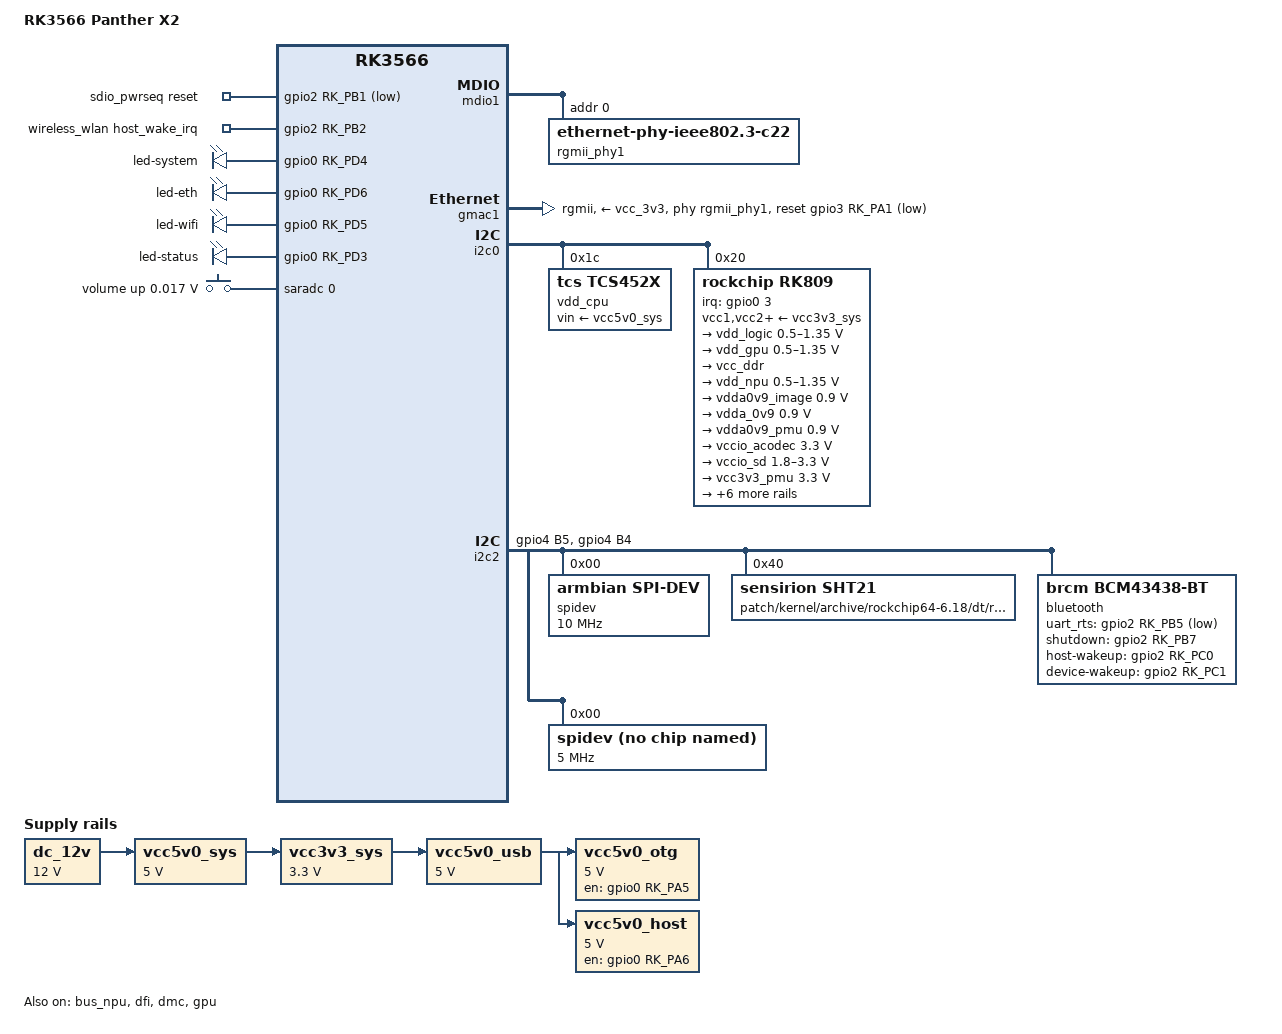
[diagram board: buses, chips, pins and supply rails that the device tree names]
<<<<<<<< HEAD:patch/kernel/rk35xx-vendor-6.1/dt/rk3566-panther-x2.dts
========
// SPDX-License-Identifier: (GPL-2.0+ OR MIT)
/*
 * Copyright (c) 2023 tdleiyao <tdleiyao@gmail.com>
 * WiFi, I2C, and SPI additions
 */
 
>>>>>>>> upstream/main:patch/kernel/archive/rockchip64-6.18/dt/rk3566-panther-x2.dts
/dts-v1/;
#include <dt-bindings/gpio/gpio.h>
#include <dt-bindings/leds/common.h>
#include <dt-bindings/input/rk-input.h>
#include "rk3566.dtsi"
#include <dt-bindings/phy/phy.h>

/ {
	model = "RK3566 Panther X2";
	compatible = "rockchip,panther-x2", "rockchip,rk3566";

	chosen: chosen {
		stdout-path = &uart2;
		u-boot,spl-boot-order = &sdmmc0, &sdhci;
	};

	aliases: aliases {
		ethernet0 = &gmac1;
		mmc0 = &sdhci;
		mmc1 = &sdmmc0;
	};

	fiq_debugger: fiq-debugger {
		compatible = "rockchip,fiq-debugger";
		rockchip,serial-id = <2>;
		rockchip,wake-irq = <0>;
		rockchip,irq-mode-enable = <1>;
		rockchip,baudrate = <1500000>;
		interrupts = <GIC_SPI 252 IRQ_TYPE_LEVEL_LOW>;
		pinctrl-names = "default";
		pinctrl-0 = <&uart2m0_xfer>;
		status = "okay";
	};

	dc_12v: dc-12v {
		compatible = "regulator-fixed";
		regulator-name = "dc_12v";
		regulator-min-microvolt = <12000000>;
		regulator-max-microvolt = <12000000>;
		regulator-always-on;
		regulator-boot-on;
	};

	vcc5v0_sys: vcc5v0-sys {
		compatible = "regulator-fixed";
		regulator-name = "vcc5v0_sys";
		regulator-min-microvolt = <5000000>;
		regulator-max-microvolt = <5000000>;
		regulator-always-on;
		regulator-boot-on;
		vin-supply = <&dc_12v>;
	};

	vcc3v3_sys: vcc3v3-sys {
		compatible = "regulator-fixed";
		regulator-name = "vcc3v3_sys";
		regulator-min-microvolt = <3300000>;
		regulator-max-microvolt = <3300000>;
		regulator-always-on;
		regulator-boot-on;
		vin-supply = <&vcc5v0_sys>;
	};

	vcc5v0_usb: vcc5v0-usb {
		compatible = "regulator-fixed";
		regulator-name = "vcc5v0_usb";
		regulator-min-microvolt = <5000000>;
		regulator-max-microvolt = <5000000>;
		regulator-always-on;
		regulator-boot-on;
		vin-supply = <&vcc3v3_sys>;
	};

	vcc5v0_otg: vcc5v0-otg {
		compatible = "regulator-fixed";
		regulator-name = "vcc5v0_otg";
		regulator-min-microvolt = <5000000>;
		regulator-max-microvolt = <5000000>;
		gpio = <&gpio0 RK_PA5 GPIO_ACTIVE_HIGH>;
		enable-active-high;
		vin-supply = <&vcc5v0_usb>;
	};

	vcc5v0_host: vcc5v0-host {
		compatible = "regulator-fixed";
		regulator-name = "vcc5v0_host";
		regulator-min-microvolt = <5000000>;
		regulator-max-microvolt = <5000000>;
		gpio = <&gpio0 RK_PA6 GPIO_ACTIVE_HIGH>;
		regulator-always-on;
		regulator-boot-on;
		enable-active-high;
		vin-supply = <&vcc5v0_usb>;
	};

	sdio_pwrseq: sdio-pwrseq {
		compatible = "mmc-pwrseq-simple";
		clocks = <&rk809 1>;
		clock-names = "ext_clock";
		post-power-on-delay-ms = <100>;
		reset-gpios = <&gpio2 RK_PB1 GPIO_ACTIVE_LOW>;
	};

	wireless_wlan: wireless-wlan {
		compatible = "wlan-platdata";
		rockchip,grf = <&grf>;
		clocks = <&rk809 1>;
		clock-names = "ext_clock";
		wifi_chip_type = "ap6236";
		WIFI,host_wake_irq = <&gpio2 RK_PB2 GPIO_ACTIVE_HIGH>;
		status = "okay";
	};

	leds: leds {
		compatible = "gpio-leds";

		led-system {
			gpios = <&gpio0 RK_PD4 GPIO_ACTIVE_HIGH>;
			linux,default-trigger = "default-on";
			function = LED_FUNCTION_POWER;
			default-state = "on";
		};

		led-eth {
			gpios = <&gpio0 RK_PD6 GPIO_ACTIVE_HIGH>;
			linux,default-trigger = "activity";
			function = LED_FUNCTION_ACTIVITY;
			default-state = "on";
		};

		led-wifi {
			gpios = <&gpio0 RK_PD5 GPIO_ACTIVE_HIGH>;
			linux,default-trigger = "activity";
			function = LED_FUNCTION_ACTIVITY;
			default-state = "on";
		};

		led-status {
			gpios = <&gpio0 RK_PD3 GPIO_ACTIVE_HIGH>;
			linux,default-trigger = "heartbeat";
			function = LED_FUNCTION_HEARTBEAT;
			default-state = "on";
		};
	};

	adc_keys: adc-keys {
		compatible = "adc-keys";
		io-channels = <&saradc 0>;
		io-channel-names = "buttons";
		keyup-threshold-microvolt = <1800000>;
		poll-interval = <100>;

		/* ADC ch0 ~0V = volume-up / recovery (U-Boot dnl -> BootROM maskrom) */
		volumeup-key {
			label = "volume up";
			linux,code = <KEY_VOLUMEUP>;
			press-threshold-microvolt = <17000>;
		};
	};
};

&mdio1 {
	rgmii_phy1: ethernet-phy@0 {
		compatible = "ethernet-phy-ieee802.3-c22";
		reg = <0x0>;
	};
};

&gmac1 {
	assigned-clocks = <&cru SCLK_GMAC1_RX_TX>, <&cru SCLK_GMAC1>;
	assigned-clock-parents = <&cru SCLK_GMAC1_RGMII_SPEED>, <&cru CLK_MAC1_2TOP>;
	assigned-clock-rates = <0>, <125000000>;
	clock_in_out = "output";
	phy-supply = <&vcc_3v3>;

	snps,reset-gpio = <&gpio3 RK_PA1 GPIO_ACTIVE_LOW>;
	snps,reset-active-low;
	snps,reset-delays-us = <0 20000 100000>;

	phy-handle = <&rgmii_phy1>;
	phy-mode = "rgmii";

	pinctrl-names = "default";
	pinctrl-0 = <&gmac1m0_miim
		     &gmac1m0_tx_bus2
		     &gmac1m0_rx_bus2
		     &gmac1m0_rgmii_clk
		     &gmac1m0_rgmii_bus>;

	/* RGMII skew for Panther X2 + RTL8211F (output clock).
	 * Verified: 1Gbps Full, 0 CRC; do NOT copy HA-Green 0x47/0x27
	 * or mainline archive 0x30/0x10 (different clocking).
	 */
	tx_delay = <0x41>;
	rx_delay = <0x2e>;

	status = "okay";
};

&bus_npu {
	bus-supply = <&vdd_logic>;
	pvtm-supply = <&vdd_cpu>;
	status = "okay";
};

&cpu0 {
	cpu-supply = <&vdd_cpu>;
};

&cpu1 {
	cpu-supply = <&vdd_cpu>;
};

&cpu2 {
	cpu-supply = <&vdd_cpu>;
};

&cpu3 {
	cpu-supply = <&vdd_cpu>;
};

&dfi {
	status = "okay";
};

&dmc {
	center-supply = <&vdd_logic>;
	status = "okay";
};

&gpu {
	clock-names = "gpu", "bus";
	interrupt-names = "GPU", "MMU", "JOB";
	mali-supply = <&vdd_gpu>;
	power-off-delay-ms = <200>;
	status = "okay";
};

&gpu_opp_table {
	/* Match CPU: rockchip,supported-hw needs per-OPP masks (were commented in rk356x.dtsi). */
	opp-200000000 {
		opp-supported-hw = <0xfb 0xffff>;
	};
	opp-300000000 {
		opp-supported-hw = <0xfb 0xffff>;
	};
	opp-400000000 {
		opp-supported-hw = <0xfb 0xffff>;
	};
	opp-600000000 {
		opp-supported-hw = <0xfb 0xffff>;
	};
	opp-700000000 {
		opp-supported-hw = <0xfb 0xffff>;
	};
	opp-800000000 {
		opp-supported-hw = <0xf9 0xffff>;
	};
};


&i2c0 {
	status = "okay";

	vdd_cpu: tcs4525@1c {
		compatible = "tcs,tcs452x";
		reg = <0x1c>;
		vin-supply = <&vcc5v0_sys>;
		regulator-compatible = "fan53555-reg";
		regulator-name = "vdd_cpu";
		regulator-min-microvolt = <712500>;
		regulator-max-microvolt = <1390000>;
		regulator-init-microvolt = <900000>;
		regulator-ramp-delay = <2300>;
		fcs,suspend-voltage-selector = <1>;
		regulator-boot-on;
		regulator-always-on;

		regulator-state-mem {
			regulator-off-in-suspend;
		};
	};

	rk809: pmic@20 {
		compatible = "rockchip,rk809";
		reg = <0x20>;
		interrupt-parent = <&gpio0>;
<<<<<<<< HEAD:patch/kernel/rk35xx-vendor-6.1/dt/rk3566-panther-x2.dts
		interrupts = <3 IRQ_TYPE_LEVEL_LOW>;
		rockchip,system-power-controller;
========
		interrupts = <RK_PA3 IRQ_TYPE_LEVEL_LOW>;
		#clock-cells = <1>;
		clock-output-names = "rk808-clkout1", "rk808-clkout2";
		pinctrl-names = "default";
		pinctrl-0 = <&pmic_int_l>;
		system-power-controller;
>>>>>>>> upstream/main:patch/kernel/archive/rockchip64-6.18/dt/rk3566-panther-x2.dts
		wakeup-source;
		#clock-cells = <1>;
		clock-output-names = "rk808-clkout1", "rk808-clkout2";
		pmic-reset-func = <0>;
		not-save-power-en = <1>;

		vcc1-supply = <&vcc3v3_sys>;
		vcc2-supply = <&vcc3v3_sys>;
		vcc3-supply = <&vcc3v3_sys>;
		vcc4-supply = <&vcc3v3_sys>;
		vcc5-supply = <&vcc3v3_sys>;
		vcc6-supply = <&vcc3v3_sys>;
		vcc7-supply = <&vcc3v3_sys>;
		vcc8-supply = <&vcc3v3_sys>;
		vcc9-supply = <&vcc3v3_sys>;

		pwrkey {
			status = "okay";
		};

		regulators {

			vdd_logic: DCDC_REG1 {
				regulator-always-on;
				regulator-boot-on;
				regulator-min-microvolt = <500000>;
				regulator-max-microvolt = <1350000>;
				regulator-init-microvolt = <900000>;
				regulator-ramp-delay = <6001>;
				regulator-initial-mode = <0x02>;
				regulator-name = "vdd_logic";

				regulator-state-mem {
					regulator-off-in-suspend;
				};
			};

			vdd_gpu: DCDC_REG2 {
				regulator-always-on;
				regulator-boot-on;
				regulator-min-microvolt = <500000>;
				regulator-max-microvolt = <1350000>;
				regulator-init-microvolt = <900000>;
				regulator-ramp-delay = <6001>;
				regulator-initial-mode = <0x02>;
				regulator-name = "vdd_gpu";

				regulator-state-mem {
					regulator-off-in-suspend;
				};
			};

			vcc_ddr: DCDC_REG3 {
				regulator-always-on;
				regulator-boot-on;
				regulator-initial-mode = <0x02>;
				regulator-name = "vcc_ddr";

				regulator-state-mem {
					regulator-on-in-suspend;
				};
			};

			vdd_npu: DCDC_REG4 {
				regulator-always-on;
				regulator-boot-on;
				regulator-min-microvolt = <500000>;
				regulator-max-microvolt = <1350000>;
				regulator-init-microvolt = <900000>;
				regulator-ramp-delay = <6001>;
				regulator-initial-mode = <0x02>;
				regulator-name = "vdd_npu";

				regulator-state-mem {
					regulator-off-in-suspend;
				};
			};

			vdda0v9_image: LDO_REG1 {
				regulator-boot-on;
				regulator-always-on;
				regulator-min-microvolt = <900000>;
				regulator-max-microvolt = <900000>;
				regulator-name = "vdda0v9_image";

				regulator-state-mem {
					regulator-off-in-suspend;
				};
			};

			vdda_0v9: LDO_REG2 {
				regulator-always-on;
				regulator-boot-on;
				regulator-min-microvolt = <900000>;
				regulator-max-microvolt = <900000>;
				regulator-name = "vdda_0v9";

				regulator-state-mem {
					regulator-off-in-suspend;
				};
			};

			vdda0v9_pmu: LDO_REG3 {
				regulator-always-on;
				regulator-boot-on;
				regulator-min-microvolt = <900000>;
				regulator-max-microvolt = <900000>;
				regulator-name = "vdda0v9_pmu";

				regulator-state-mem {
					regulator-on-in-suspend;
					regulator-suspend-microvolt = <900000>;
				};
			};

			vccio_acodec: LDO_REG4 {
				regulator-always-on;
				regulator-boot-on;
				regulator-min-microvolt = <3300000>;
				regulator-max-microvolt = <3300000>;
				regulator-name = "vccio_acodec";

				regulator-state-mem {
					regulator-off-in-suspend;
				};
			};

			vccio_sd: LDO_REG5 {
				regulator-name = "vccio_sd";
				regulator-min-microvolt = <1800000>;
				regulator-max-microvolt = <3300000>;

				regulator-state-mem {
					regulator-off-in-suspend;
				};
			};

			vcc3v3_pmu: LDO_REG6 {
				regulator-always-on;
				regulator-boot-on;
				regulator-min-microvolt = <3300000>;
				regulator-max-microvolt = <3300000>;
				regulator-name = "vcc3v3_pmu";

				regulator-state-mem {
					regulator-on-in-suspend;
					regulator-suspend-microvolt = <3300000>;
				};
			};

			vcca_1v8: LDO_REG7 {
				regulator-always-on;
				regulator-boot-on;
				regulator-min-microvolt = <1800000>;
				regulator-max-microvolt = <1800000>;
				regulator-name = "vcca_1v8";

				regulator-state-mem {
					regulator-off-in-suspend;
				};
			};

			vcca1v8_pmu: LDO_REG8 {
				regulator-always-on;
				regulator-boot-on;
				regulator-min-microvolt = <1800000>;
				regulator-max-microvolt = <1800000>;
				regulator-name = "vcca1v8_pmu";

				regulator-state-mem {
					regulator-on-in-suspend;
					regulator-suspend-microvolt = <1800000>;
				};
			};

			vcca1v8_image: LDO_REG9 {
				regulator-always-on;
				regulator-boot-on;
				regulator-min-microvolt = <1800000>;
				regulator-max-microvolt = <1800000>;
				regulator-name = "vcca1v8_image";

				regulator-state-mem {
					regulator-off-in-suspend;
				};
			};

			vcc_1v8: DCDC_REG5 {
				regulator-always-on;
				regulator-boot-on;
				regulator-min-microvolt = <1800000>;
				regulator-max-microvolt = <1800000>;
				regulator-name = "vcc_1v8";

				regulator-state-mem {
					regulator-off-in-suspend;
				};
			};

			vcc_3v3: SWITCH_REG1 {
				regulator-always-on;
				regulator-boot-on;
				regulator-name = "vcc_3v3";

				regulator-state-mem {
					regulator-off-in-suspend;
				};
			};

			vcc3v3_sd: SWITCH_REG2 {
				regulator-name = "vcc3v3_sd";

				regulator-state-mem {
					regulator-off-in-suspend;
				};
			};
		};

		rk809_codec: codec {
			#sound-dai-cells = <0>;
			compatible = "rockchip,rk809-codec", "rockchip,rk817-codec";
			clocks = <&cru I2S1_MCLKOUT>;
			clock-names = "mclk";
			assigned-clocks = <&cru I2S1_MCLKOUT>, <&cru I2S1_MCLK_TX_IOE>;
			assigned-clock-rates = <12288000>;
			assigned-clock-parents = <&cru I2S1_MCLKOUT_TX>, <&cru I2S1_MCLKOUT_TX>;
			pinctrl-names = "default";
			pinctrl-0 = <&i2s1m0_mclk>;
			hp-volume = <20>;
			spk-volume = <3>;
			mic-in-differential;
			status = "okay";
		};
	};
};

<<<<<<<< HEAD:patch/kernel/rk35xx-vendor-6.1/dt/rk3566-panther-x2.dts
&i2c1 {
	status = "okay";
};

&i2c2 {
	pinctrl-0 = <&i2c2m1_xfer>;
	status = "okay";
========
/* I2C2 - General purpose I2C */
&i2c2 {
	status = "okay";
	pinctrl-names = "default";
	pinctrl-0 = <&i2c2m1_xfer>;
};

/* I2C3 - General purpose I2C */
&i2c3 {
	status = "okay";
	pinctrl-names = "default";
	pinctrl-0 = <&i2c3m0_xfer>;
};

/* I2C4 - General purpose I2C */
&i2c4 {
	status = "okay";
	pinctrl-names = "default";
	pinctrl-0 = <&i2c4m0_xfer>;
};

&i2s1_8ch {
	pinctrl-names = "default";
	pinctrl-0 = <&i2s1m1_sclktx &i2s1m1_sclkrx
		     &i2s1m1_lrcktx &i2s1m1_lrckrx
		     &i2s1m1_sdi0   &i2s1m1_sdi1
		     &i2s1m1_sdi2   &i2s1m1_sdi3
		     &i2s1m1_sdo0   &i2s1m1_sdo1
		     &i2s1m1_sdo2   &i2s1m1_sdo3>;
	status = "disabled";
};

/* SPI0 - with spidev for userspace access */
&spi0 {
	status = "okay";
	#address-cells = <1>;
	#size-cells = <0>;
	
	spidev@0 {
		compatible = "armbian,spi-dev";
		reg = <0>;
		spi-max-frequency = <10000000>;
	};
};

&pinctrl {	
	sdio-pwrseq {
		wifi_enable_h: wifi-enable-h {
			rockchip,pins = <2 RK_PB1 RK_FUNC_GPIO &pcfg_pull_none>;
		};
	};
	
	wireless-wlan {
		wifi_host_wake_irq: wifi-host-wake-irq {
			rockchip,pins = <2 RK_PB2 RK_FUNC_GPIO &pcfg_pull_down>;
		};
	};
	
	bt {
		bt_enable_h: bt-enable-h {
			rockchip,pins = <2 RK_PB7 RK_FUNC_GPIO &pcfg_pull_none>;
		};

		bt_host_wake_l: bt-host-wake-l {
			rockchip,pins = <2 RK_PC0 RK_FUNC_GPIO &pcfg_pull_none>;
		};

		bt_wake_l: bt-wake-l {
			rockchip,pins = <2 RK_PC1 RK_FUNC_GPIO &pcfg_pull_none>;
		};
	};

	leds {
		led_pwr_enable_h: led-pwr-enable-h {
			rockchip,pins = <0 RK_PD4 RK_FUNC_GPIO &pcfg_pull_none>;
		};
		
		led_wifi_enable_h: led-wifi-enable-h {
			rockchip,pins = <0 RK_PD6 RK_FUNC_GPIO &pcfg_pull_none>;
		};
		
		led_eth_enable_h: led-eth-enable-h {
			rockchip,pins = <0 RK_PD5 RK_FUNC_GPIO &pcfg_pull_none>;
		};

		led_status_enable_h: led-status-enable-h {
			rockchip,pins = <0 RK_PD3 RK_FUNC_GPIO &pcfg_pull_none>;
		};
	};

	pmic {
		pmic_int_l: pmic-int-l {
			rockchip,pins = <0 RK_PA3 RK_FUNC_GPIO &pcfg_pull_up>;
		};
	};
>>>>>>>> upstream/main:patch/kernel/archive/rockchip64-6.18/dt/rk3566-panther-x2.dts

	sht21@40 {
		#address-cells = <1>;
		#size-cells = <0>;
		compatible = "sensirion,sht21";
		reg = <0x40>;
		status = "okay";
	};		
};

&pmu_io_domains {
	pmuio1-supply = <&vcc3v3_pmu>;
	pmuio2-supply = <&vcc3v3_pmu>;
	vccio1-supply = <&vccio_acodec>;
	vccio3-supply = <&vccio_sd>;
	vccio4-supply = <&vcc_1v8>;
	vccio5-supply = <&vcc_3v3>;
	vccio6-supply = <&vcc_3v3>;
	vccio7-supply = <&vcc_3v3>;
	status = "okay";
};

&sdhci {
	bus-width = <8>;
	mmc-hs200-1_8v;
	no-sdio;
	no-sd;
	non-removable;
	max-frequency = <200000000>;
	vmmc-supply = <&vcc_3v3>;
	vqmmc-supply = <&vcc_1v8>;
	pinctrl-names = "default";
	pinctrl-0 = <&emmc_clk &emmc_cmd &emmc_bus8>;
	status = "okay";
};

&sdmmc0 {
	/* sd4: clone HA-Green supplies + keep vendor normal/idle; no UHS */
	bus-width = <4>;
	cap-sd-highspeed;
	cd-gpios = <&gpio0 RK_PA4 GPIO_ACTIVE_LOW>;
	disable-wp;
	max-frequency = <50000000>;
	no-sdio;
	no-mmc;
	vmmc-supply = <&vcc3v3_sd>;
	vqmmc-supply = <&vccio_sd>;
	pinctrl-names = "default", "normal", "idle";
	pinctrl-0 = <&sdmmc0_bus4 &sdmmc0_clk &sdmmc0_cmd>;
	pinctrl-1 = <&sdmmc0_bus4 &sdmmc0_clk &sdmmc0_cmd>;
	pinctrl-2 = <&sdmmc0_bus4 &sdmmc0_clk &sdmmc0_cmd>;
	status = "okay";
};



&sdmmc1 {
	supports-sdio;
	bus-width = <4>;
	disable-wp;
	cap-sd-highspeed;
	cap-sdio-irq;
	keep-power-in-suspend;
	non-removable;
	mmc-pwrseq = <&sdio_pwrseq>;
<<<<<<<< HEAD:patch/kernel/rk35xx-vendor-6.1/dt/rk3566-panther-x2.dts
	pinctrl-names = "default";
	pinctrl-0 = <&sdmmc1_bus4 &sdmmc1_cmd &sdmmc1_clk>;
========
	vmmc-supply = <&vcc3v3_sys>;
	vqmmc-supply = <&vcc_1v8>;
>>>>>>>> upstream/main:patch/kernel/archive/rockchip64-6.18/dt/rk3566-panther-x2.dts
	status = "okay";
};

&tsadc {
	rockchip,hw-tshut-mode = <0>;
	rockchip,hw-tshut-polarity = <0>;
	rockchip,hw-tshut-temp = <120000>;
	status = "okay";
};

&saradc {
	vref-supply = <&vcca_1v8>;
	status = "okay";
};

&uart1 {
	status = "okay";
	pinctrl-names = "default";
	pinctrl-0 = <&uart1m0_xfer &uart1m0_ctsn &uart1m0_rtsn>;

	bluetooth {
		compatible = "brcm,bcm43438-bt";
		clocks = <&rk809 1>;
		clock-names = "ext_clock";
		uart_rts_gpios = <&gpio2 RK_PB5 GPIO_ACTIVE_LOW>;
		shutdown-gpios = <&gpio2 RK_PB7 GPIO_ACTIVE_HIGH>;
		host-wakeup-gpios = <&gpio2 RK_PC0 GPIO_ACTIVE_HIGH>;
		device-wakeup-gpios = <&gpio2 RK_PC1 GPIO_ACTIVE_HIGH>;
	};

};

&uart2 {
	status = "disabled";
};

&uart7 {
	pinctrl-0 = <&uart7m2_xfer>;
	dma-names = "tx", "rx";
	status = "okay";
};

&spi3 {
	status = "okay";
	#address-cells = <1>;
	#size-cells = <0>;
	pinctrl-names = "default", "high_speed";
	pinctrl-0 = <&spi3m0_cs0 &spi3m0_cs1 &spi3m0_pins>;
	pinctrl-1 = <&spi3m0_cs0 &spi3m0_cs1 &spi3m0_pins_hs>;
	max-freq = <50000000>;

	spidev@0 {
		status = "okay";
		compatible = "rockchip,spidev";
		reg = <0>;
		spi-max-frequency = <5000000>;
	};
};

&iep {
	status = "okay";
};

&iep_mmu {
	status = "okay";
};

&jpegd {
	status = "okay";
};

&jpegd_mmu {
	status = "okay";
};

&mpp_srv {
	status = "okay";
};

&rk_rga {
	status = "okay";
};

&rkvdec {
	status = "okay";
};

&rkvdec_mmu {
	status = "okay";
};

&rkvenc {
	venc-supply = <&vdd_logic>;
	status = "okay";
};

&rkvenc_mmu {
	status = "okay";
};

&rknpu {
	interrupt-names = "npu_irq";
	rknpu-supply = <&vdd_npu>;
	status = "okay";
};

&rknpu_mmu {
	status = "okay";
};

&vdpu {
	status = "okay";
};

&vdpu_mmu {
	status = "okay";
};

&vepu {
	status = "okay";
};

&vepu_mmu {
	status = "okay";
};

&usb2phy0 {
	status = "okay";
};

&u2phy0_host {
	phy-supply = <&vcc5v0_usb>;
	status = "okay";
};

&u2phy0_otg {
	phy-supply = <&vcc5v0_usb>;
	status = "okay";
};

&usb_host0_ehci {
	/* DWC3/xhci owns this port */
	status = "disabled";
};

&usb_host0_ohci {
	/* DWC3/xhci owns this port */
	status = "disabled";
};


&combphy1_usq {
	status = "disabled";
};
&usbdrd30 {
	status = "okay";
};

&usbdrd_dwc3 {
	/* Panther X2 has USB2 only — no SuperSpeed PHY */
	dr_mode = "host";
	phys = <&u2phy0_otg>;
	phy-names = "usb2-phy";
	maximum-speed = "high-speed";
	extcon = <&usb2phy0>;
	status = "okay";
};

&pinctrl {
	i2c2{
		i2c2m1_xfer: i2c2m1-xfer {
			rockchip,pins =
				<4 RK_PB5 1 &pcfg_pull_none_smt>,
				<4 RK_PB4 1 &pcfg_pull_none_smt>;
		};
	};
};

